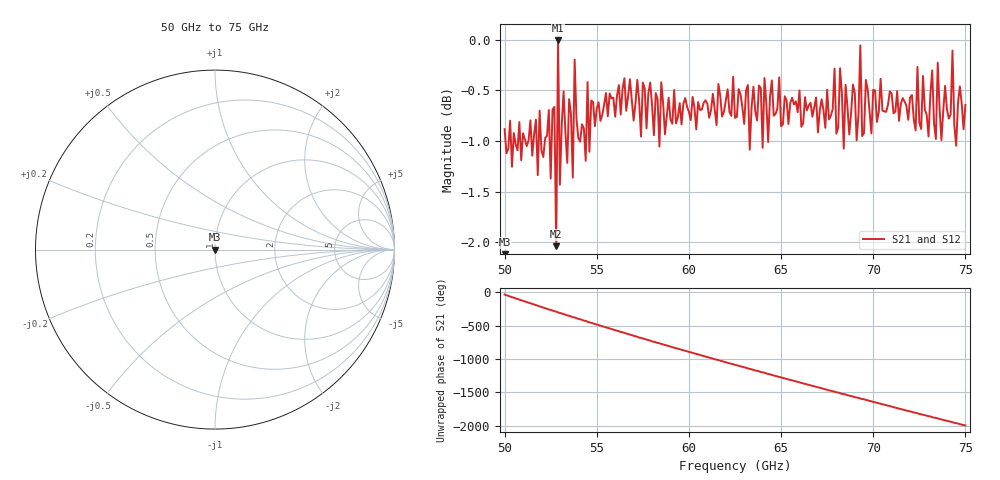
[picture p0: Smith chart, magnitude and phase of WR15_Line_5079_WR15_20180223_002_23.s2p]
# GHZ S RI R 50
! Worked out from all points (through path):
!   251 points, 50 GHz to 75 GHz, reference 50 ohm
!   highest |S21| = -0.01 dB at 52.9 GHz (marker M1); lowest = -2.0 dB at 52.8 GHz (marker M2)
!   lowest |S11| = - dB at 50 GHz (marker M3), VSWR 1.00, Z = 50 - j3.43e-17 ohm
!   |S11| at or under -10 dB: start of sweep to end of sweep
!   |S22| runs from - to - dB; largest |S21 - S12| = 1.5e-15
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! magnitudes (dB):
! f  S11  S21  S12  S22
! 50 GHz  -  -0.9  -0.9  -
! 51.8 GHz  -  -1.3  -1.3  -
! 52.4 GHz  -  -0.7  -0.7  -
! 52.5 GHz  -  -1.4  -1.4  -
! 52.7 GHz  -  -0.7  -0.7  -
! 52.8 GHz  -  -2.0  -2.0  -
! 52.9 GHz  -  0.0  0.0  -
! 53 GHz  -  -1.4  -1.4  -
! 53.2 GHz  -  -0.5  -0.5  -
! 53.7 GHz  -  -1.4  -1.4  -
! 53.8 GHz  -  -0.2  -0.2  -
! 54.2 GHz  -  -0.8  -0.8  -
! 57.9 GHz  -  -0.4  -0.4  -
! 58.4 GHz  -  -1.1  -1.1  -
! 58.5 GHz  -  -0.4  -0.4  -
! 62.5 GHz  -  -0.8  -0.8  -
! 66.7 GHz  -  -0.8  -0.8  -
! 69.1 GHz  -  -1.0  -1.0  -
! 69.3 GHz  -  -0.1  -0.1  -
! 69.4 GHz  -  -1.0  -1.0  -
! 70.9 GHz  -  -0.5  -0.5  -
! 75 GHz  -  -0.6  -0.6  -
